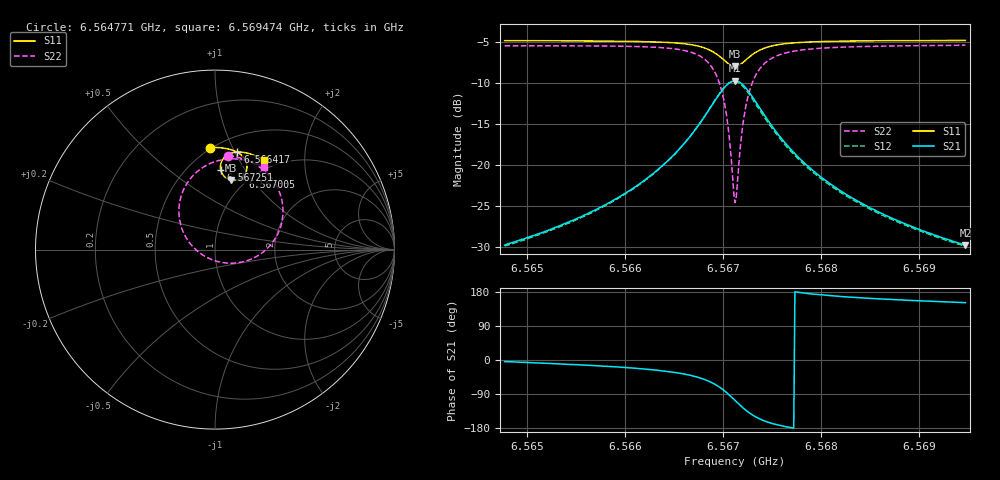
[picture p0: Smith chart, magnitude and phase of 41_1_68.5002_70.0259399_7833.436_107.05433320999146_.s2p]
#  HZ  S  RI  R  50.00
! Rohde & Schwarz Vector Network Analyzer
! Rohde-Schwarz,ZNB20-2Port,1311601062101988,3.16
! Created: UTC 3/20/2024, 4:50:20 PM
! freq[Hz]  re:S11  im:S11  re:S21  im:S21  re:S12  im:S12  re:S22  im:S22
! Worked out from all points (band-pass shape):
!   401 points, 6.564771 GHz to 6.569474 GHz, reference 50 ohm
!   highest |S21| = -9.78 dB at 6.567122 GHz (marker M1); lowest = -29.8 dB at 6.569474 GHz (marker M2)
!   |S21| within 3 dB of the highest: 6.566886 GHz to 6.567357 GHz (471.1 kHz wide, 0.00717 % of centre)
!   lowest |S11| = -8.0 dB at 6.567122 GHz (marker M3), VSWR 2.32, Z = 42.8 + j39.4 ohm
!   |S11| at or under -10 dB: nowhere
!   |S22| runs from -24.6 to -5.4 dB; largest |S21 - S12| = 0.017
!   S11 on the Smith chart (normalised r, x): 6.564771 GHz: 0.49, +0.82; 6.566417 GHz: 0.65, +1.02; 6.567005 GHz: 0.92, +0.93; 6.567251 GHz: 0.71, +0.78; 6.569474 GHz: 0.86, +1.29
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6.5647705e9  -0.0294 0.5688  0.0323 -0.00245  0.0318 -0.00282  0.0752 0.5242
6.5655583e9  0.0373 0.5668  0.0471 -0.0109  0.0465 -0.0116  0.1565 0.5058
6.5660169e9  0.0806 0.5591  0.0636 -0.0234  0.0627 -0.0241  0.2182 0.4789
6.5663461e9  0.1165 0.5465  0.0839 -0.0436  0.0826 -0.0447  0.2776 0.437
6.5664166e9  0.125 0.5422  0.0896 -0.051  0.0884 -0.0521  0.293 0.4225
6.5666518e9  0.1558 0.5179  0.1123 -0.0927  0.1106 -0.0949  0.3505 0.34
6.5668282e9  0.1764 0.4783  0.1223 -0.1626  0.1186 -0.1665  0.3786 0.2052
6.566934e9  0.1751 0.4382  0.1008 -0.2332  0.0938 -0.2382  0.3409 0.0709
6.5670045e9  0.1567 0.4076  0.0542 -0.2856  0.0427 -0.2892  0.2524 -0.0255
6.5670516e9  0.1334 0.3914  0.00264 -0.311  -0.0117 -0.3114  0.1558 -0.0681
6.5670986e9  0.1029 0.3854  -0.0605 -0.3171  -0.0761 -0.3124  0.0403 -0.072
6.5671221e9  0.0869 0.3875  -0.0931 -0.3107  -0.1081 -0.3032  -0.0173 -0.0562
6.5671456e9  0.0717 0.393  -0.1237 -0.2979  -0.1373 -0.2879  -0.07 -0.029
6.5672044e9  0.0429 0.4179  -0.182 -0.246  -0.1901 -0.232  -0.1642 0.0722
6.5672515e9  0.032 0.4433  -0.2053 -0.1962  -0.209 -0.182  -0.1968 0.1629
6.5673455e9  0.0352 0.487  -0.2072 -0.1116  -0.2051 -0.1006  -0.1845 0.3106
6.5674866e9  0.0624 0.5233  -0.1711 -0.0414  -0.1672 -0.0354  -0.1067 0.4281
6.5676512e9  0.0942 0.5391  -0.1317 -0.00798  -0.1284 -0.0048  -0.0248 0.4808
6.5679099e9  0.133 0.544  -0.0925 0.00949  -0.0901 0.011  0.0619 0.5037
6.5682744e9  0.1741 0.539  -0.0631 0.0154  -0.0616 0.0162  0.1376 0.5028
6.5686977e9  0.2128 0.528  -0.0451 0.0163  -0.044 0.0168  0.196 0.4905
6.5694737e9  0.2732 0.5016  -0.0283 0.0155  -0.0278 0.0157  0.272 0.4595
